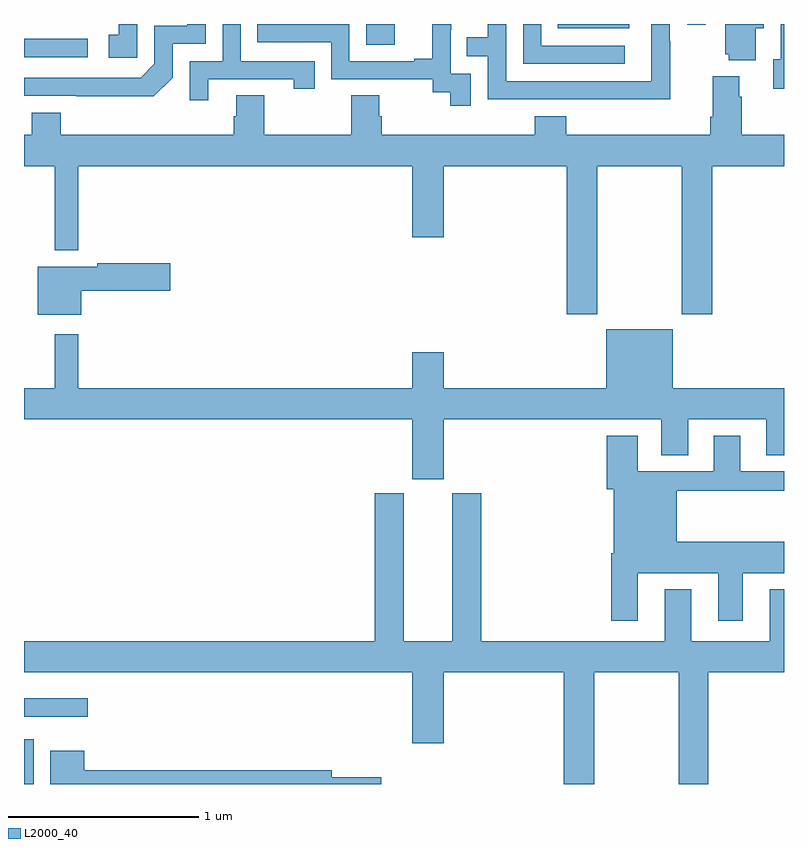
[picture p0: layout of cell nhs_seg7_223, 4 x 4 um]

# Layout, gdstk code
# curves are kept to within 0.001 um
import gdstk
lib = gdstk.Library(unit=1e-6, precision=1e-09)
def R(c, l, rs):  # rectangles x0, y0, x1, y1
    for r in rs: c.add(gdstk.rectangle(r[:2], r[2:], *l))
def P(c, l, *ps):  # polygons
    for p in ps: c.add(gdstk.Polygon(p, *l))
L2000_40 = (2000, 40)

nhs_seg7_223 = lib.new_cell('nhs_seg7_223')
R(nhs_seg7_223, L2000_40, [(127,1028,127.051,1028.236), (127,1028.355,127.336,1028.452), (127,1031.826,127.336,1031.922), (128.802,1031.892,128.95,1032), (129.808,1031.978,130.186,1032), (130.491,1031.997,130.587,1032)])
P(nhs_seg7_223, L2000_40, [(130.401,1031.909),(130.398,1031.909),(130.398,1032),(130.302,1032),(130.302,1031.7),(129.537,1031.7),(129.537,1032),(129.441,1032),(129.441,1031.93),(129.331,1031.93),(129.331,1031.829),(129.441,1031.829),(129.441,1031.604),(129.937,1031.604),(129.937,1031.603),(130.401,1031.603)],
  [(127.969,1031.709),(128.42,1031.709),(128.42,1031.658),(128.531,1031.658),(128.531,1031.805),(128.142,1031.805),(128.142,1032),(128.046,1032),(128.046,1031.805),(127.872,1031.805),(127.872,1031.598),(127.969,1031.598)],
  [(130.852,1031.978),(130.894,1031.978),(130.894,1032),(130.691,1032),(130.691,1031.841),(130.709,1031.841),(130.709,1031.81),(130.852,1031.81)],
  [(130.162,1031.886),(129.723,1031.886),(129.723,1032),(129.627,1032),(129.627,1031.79),(130.162,1031.79)],
  [(129.351,1031.739),(129.246,1031.739),(129.246,1031.969),(129.248,1031.969),(129.248,1032),(129.149,1032),(129.149,1031.818),(129.053,1031.818),(129.053,1031.805),(128.712,1031.805),(128.712,1032),(128.227,1032),(128.227,1031.904),(128.616,1031.904),(128.616,1031.709),(129.15,1031.709),(129.15,1031.641),(129.243,1031.641),(129.243,1031.571),(129.351,1031.571)],
  [(131,1032),(130.983,1032),(130.983,1031.814),(130.943,1031.814),(130.943,1031.658),(131,1031.658)],
  [(127.782,1031.718),(127.782,1031.895),(127.956,1031.895),(127.956,1032),(127.859,1032),(127.859,1031.991),(127.686,1031.991),(127.686,1031.79),(127.614,1031.718),(127,1031.718),(127,1031.622),(127.684,1031.621)],
  [(127.596,1032),(127.499,1032),(127.499,1031.943),(127.446,1031.943),(127.446,1031.823),(127.596,1031.823)],
  [(130.017,1031.252),(130.462,1031.252),(130.462,1030.473),(130.622,1030.473),(130.622,1031.252),(131,1031.252),(131,1031.416),(130.778,1031.416),(130.778,1031.618),(130.765,1031.618),(130.765,1031.725),(130.625,1031.725),(130.625,1031.512),(130.613,1031.512),(130.613,1031.416),(129.854,1031.416),(129.854,1031.515),(129.689,1031.515),(129.689,1031.416),(128.882,1031.416),(128.882,1031.514),(128.869,1031.514),(128.869,1031.624),(128.722,1031.624),(128.722,1031.416),(128.265,1031.416),(128.265,1031.624),(128.117,1031.624),(128.117,1031.514),(128.105,1031.514),(128.105,1031.416),(127.193,1031.416),(127.193,1031.533),(127.04,1031.533),(127.04,1031.416),(127,1031.416),(127,1031.252),(127.163,1031.252),(127.163,1030.808),(127.285,1030.808),(127.285,1031.252),(129.044,1031.252),(129.044,1030.878),(129.208,1030.878),(129.208,1031.252),(129.857,1031.252),(129.857,1030.473),(130.017,1030.473)],
  [(127.3,1030.595),(127.771,1030.595),(127.771,1030.742),(127.386,1030.742),(127.386,1030.723),(127.073,1030.723),(127.073,1030.469),(127.3,1030.469)],
  [(127.163,1030.366),(127.163,1030.084),(127,1030.084),(127,1029.92),(129.044,1029.92),(129.044,1029.603),(129.208,1029.603),(129.208,1029.92),(130.355,1029.92),(130.355,1029.73),(130.495,1029.73),(130.495,1029.92),(130.907,1029.92),(130.907,1029.73),(131,1029.73),(131,1030.084),(130.414,1030.084),(130.414,1030.393),(130.064,1030.393),(130.064,1030.084),(129.208,1030.084),(129.208,1030.273),(129.044,1030.273),(129.044,1030.084),(127.285,1030.084),(127.285,1030.366)],
  [(130.231,1029.11),(130.655,1029.11),(130.655,1028.859),(130.783,1028.859),(130.783,1029.11),(131,1029.11),(131,1029.274),(130.435,1029.274),(130.435,1029.544),(131,1029.544),(131,1029.645),(130.771,1029.645),(130.771,1029.832),(130.631,1029.832),(130.631,1029.645),(130.231,1029.645),(130.231,1029.832),(130.067,1029.832),(130.067,1029.552),(130.103,1029.552),(130.103,1029.214),(130.091,1029.214),(130.091,1028.859),(130.231,1028.859)],
  [(130.002,1028.588),(130.447,1028.588),(130.447,1028),(130.602,1028),(130.602,1028.588),(131,1028.588),(131,1029.025),(130.925,1029.025),(130.925,1028.752),(130.513,1028.752),(130.513,1029.025),(130.373,1029.025),(130.373,1028.752),(129.407,1028.752),(129.407,1029.531),(129.254,1029.531),(129.254,1028.752),(128.998,1028.752),(128.998,1029.531),(128.846,1029.531),(128.846,1028.752),(127,1028.752),(127,1028.588),(129.044,1028.588),(129.044,1028.214),(129.208,1028.214),(129.208,1028.588),(129.842,1028.588),(129.842,1028),(130.002,1028)],
  [(128.881,1028.036),(128.62,1028.036),(128.62,1028.072),(127.318,1028.072),(127.318,1028.176),(127.139,1028.176),(127.139,1028),(128.881,1028)])

lib.write_gds('nhs_seg7_223.gds')
